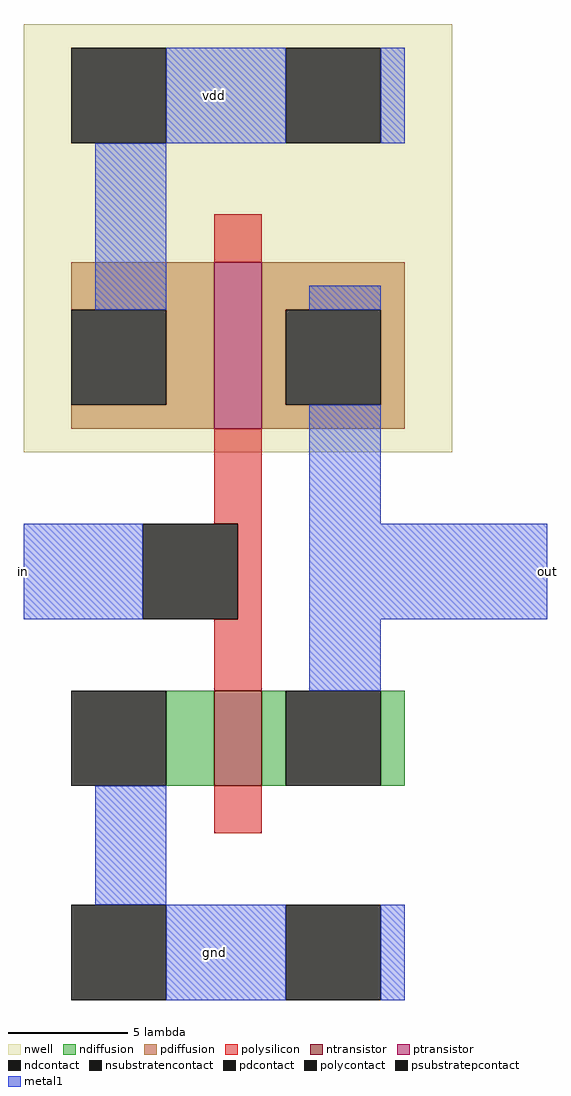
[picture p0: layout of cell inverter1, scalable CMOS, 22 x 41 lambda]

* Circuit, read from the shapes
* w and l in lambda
.subckt inverter1 gnd in out vdd
M1 out in gnd gnd nfet w=4 l=2
M2 out in vdd vdd pfet w=7 l=2
.ends

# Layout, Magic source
magic
tech scmos
<< nwell >>
rect -8 -1 10 17
<< polysilicon >>
rect 0 7 2 9
rect 0 -4 2 0
rect 1 -8 2 -4
rect 0 -11 2 -8
rect 0 -17 2 -15
<< ndiffusion >>
rect -2 -15 0 -11
rect 2 -15 3 -11
rect 7 -15 8 -11
<< pdiffusion >>
rect -6 5 0 7
rect -2 1 0 5
rect -6 0 0 1
rect 2 5 8 7
rect 2 1 3 5
rect 7 1 8 5
rect 2 0 8 1
<< metal1 >>
rect -2 12 3 16
rect 7 12 8 16
rect -5 5 -2 12
rect 4 5 7 6
rect 4 -4 7 1
rect -8 -8 -3 -4
rect 4 -8 14 -4
rect 4 -11 7 -8
rect -5 -20 -2 -15
rect -2 -24 3 -20
rect 7 -24 8 -20
<< ntransistor >>
rect 0 -15 2 -11
<< ptransistor >>
rect 0 0 2 7
<< polycontact >>
rect -3 -8 1 -4
<< ndcontact >>
rect -6 -15 -2 -11
rect 3 -15 7 -11
<< pdcontact >>
rect -6 1 -2 5
rect 3 1 7 5
<< psubstratepcontact >>
rect -6 -24 -2 -20
rect 3 -24 7 -20
<< nsubstratencontact >>
rect -6 12 -2 16
rect 3 12 7 16
<< labels >>
rlabel metal1 0 -22 0 -22 1 gnd
rlabel metal1 0 14 0 14 5 vdd
rlabel metal1 -8 -8 -8 -4 3 in
rlabel metal1 14 -8 14 -4 7 out
<< end >>
